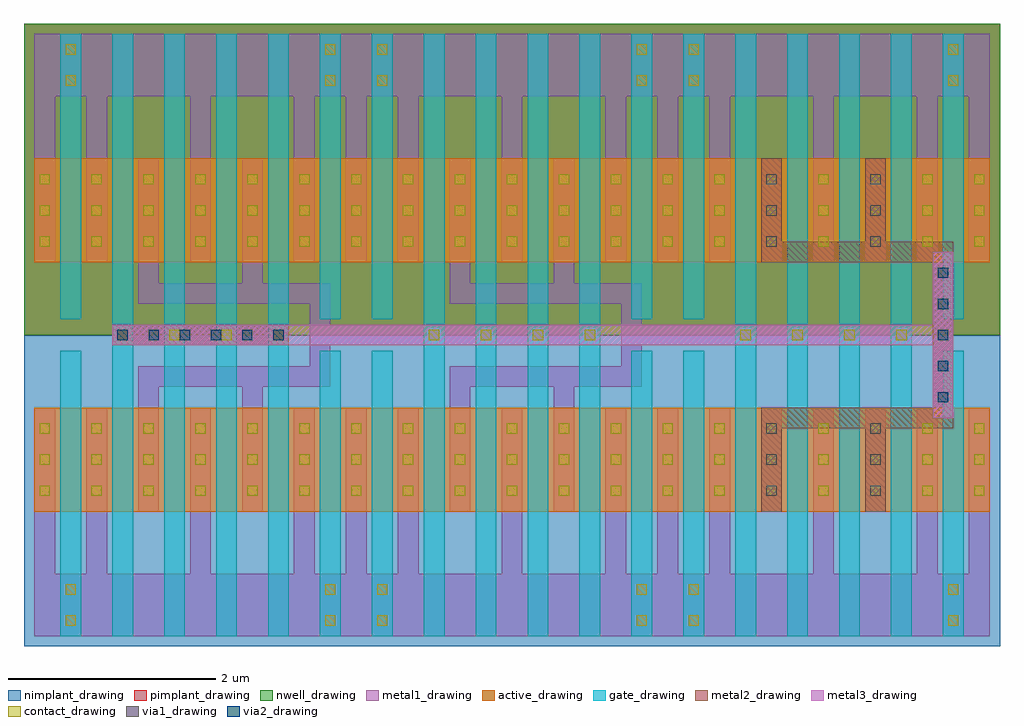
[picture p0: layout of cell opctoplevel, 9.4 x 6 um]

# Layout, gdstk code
import gdstk
lib = gdstk.Library(unit=1e-6, precision=1e-09)
def R(c, l, rs):  # rectangles x0, y0, x1, y1
    for r in rs: c.add(gdstk.rectangle(r[:2], r[2:], *l))
def A(c, l, x, y, w, h, nx, ny, dx, dy):  # array of equal rectangles
    R(c, l, [(x+i*dx, y+j*dy, x+i*dx+w, y+j*dy+h) for i in range(nx) for j in range(ny)])
active_drawing = (1, 0)
nwell_drawing = (3, 0)
pimplant_drawing = (4, 0)
nimplant_drawing = (5, 0)
gate_drawing = (6, 0)
contact_drawing = (7, 0)
metal1_drawing = (8, 0)
via1_drawing = (9, 0)
metal2_drawing = (10, 0)
via2_drawing = (11, 0)
metal3_drawing = (12, 0)

opctoplevel = lib.new_cell('opctoplevel')
A(opctoplevel, active_drawing, -0.25, 0, 0.7, 1, 18, 2, 0.5, 2.4)
A(opctoplevel, nwell_drawing, -0.35, 1.7, 0.9, 3, 18, 1, 0.5, 0)
R(opctoplevel, nwell_drawing, [(-0.35,1.7,9.05,4.7)])
A(opctoplevel, pimplant_drawing, -0.35, 1.7, 0.9, 3, 18, 1, 0.5, 0)
R(opctoplevel, pimplant_drawing, [(-0.35,1.7,9.05,4.7)])
A(opctoplevel, nimplant_drawing, -0.35, -1.3, 0.9, 3, 18, 1, 0.5, 0)
R(opctoplevel, nimplant_drawing, [(-0.35,-1.3,9.05,1.7)])
A(opctoplevel, gate_drawing, 0.5, -1.2, 0.2, 3, 4, 1, 0.5, 0)
A(opctoplevel, gate_drawing, 3.5, -1.2, 0.2, 3, 4, 1, 0.5, 0)
A(opctoplevel, gate_drawing, 6.5, -1.2, 0.2, 3, 4, 1, 0.5, 0)
A(opctoplevel, gate_drawing, 0.5, 1.7, 0.2, 2.9, 4, 1, 0.5, 0)
A(opctoplevel, gate_drawing, 3.5, 1.7, 0.2, 2.9, 4, 1, 0.5, 0)
A(opctoplevel, gate_drawing, 6.5, 1.7, 0.2, 2.9, 4, 1, 0.5, 0)
R(opctoplevel, gate_drawing, [(0,-1.2,0.2,1.55), (2.5,-1.2,2.7,1.55), (3,-1.2,3.2,1.55), (5.5,-1.2,5.7,1.55), (6,-1.2,6.2,1.55), (8.5,-1.2,8.7,1.55), (0,1.85,0.2,4.6), (2.5,1.85,2.7,4.6), (3,1.85,3.2,4.6), (5.5,1.85,5.7,4.6), (6,1.85,6.2,4.6), (8.5,1.85,8.7,4.6)])
A(opctoplevel, contact_drawing, -0.2, 0.15, 0.1, 0.1, 7, 3, 0.5, 0.3)
A(opctoplevel, contact_drawing, 2.8, 0.15, 0.1, 0.1, 7, 3, 0.5, 0.3)
A(opctoplevel, contact_drawing, 5.8, 0.15, 0.1, 0.1, 7, 3, 0.5, 0.3)
A(opctoplevel, contact_drawing, 0.55, 1.65, 0.1, 0.1, 4, 1, 0.5, 0)
A(opctoplevel, contact_drawing, 3.55, 1.65, 0.1, 0.1, 4, 1, 0.5, 0)
A(opctoplevel, contact_drawing, 6.55, 1.65, 0.1, 0.1, 4, 1, 0.5, 0)
A(opctoplevel, contact_drawing, -0.2, 2.55, 0.1, 0.1, 7, 3, 0.5, 0.3)
A(opctoplevel, contact_drawing, 2.8, 2.55, 0.1, 0.1, 7, 3, 0.5, 0.3)
A(opctoplevel, contact_drawing, 5.8, 2.55, 0.1, 0.1, 7, 3, 0.5, 0.3)
R(opctoplevel, contact_drawing, [(0.05,-1.1,0.15,-1), (2.55,-1.1,2.65,-1), (3.05,-1.1,3.15,-1), (5.55,-1.1,5.65,-1), (6.05,-1.1,6.15,-1), (8.55,-1.1,8.65,-1), (0.05,-0.8,0.15,-0.7), (2.55,-0.8,2.65,-0.7), (3.05,-0.8,3.15,-0.7), (5.55,-0.8,5.65,-0.7), (6.05,-0.8,6.15,-0.7), (8.55,-0.8,8.65,-0.7), (0.05,4.1,0.15,4.2), (2.55,4.1,2.65,4.2), (3.05,4.1,3.15,4.2), (5.55,4.1,5.65,4.2), (6.05,4.1,6.15,4.2), (8.55,4.1,8.65,4.2), (0.05,4.4,0.15,4.5), (2.55,4.4,2.65,4.5), (3.05,4.4,3.15,4.5), (5.55,4.4,5.65,4.5), (6.05,4.4,6.15,4.5), (8.55,4.4,8.65,4.5)])
A(opctoplevel, metal1_drawing, -0.25, -1.2, 3.2, 0.6, 3, 2, 3, 5.2)
A(opctoplevel, metal1_drawing, 0.25, -0.6, 0.2, 0.6, 3, 2, 1, 4)
A(opctoplevel, metal1_drawing, 3.25, -0.6, 0.2, 0.6, 3, 2, 1, 4)
A(opctoplevel, metal1_drawing, 6.25, -0.6, 0.2, 0.6, 3, 2, 1, 4)
A(opctoplevel, metal1_drawing, -0.25, 0, 0.2, 1, 7, 2, 0.5, 2.4)
A(opctoplevel, metal1_drawing, 2.75, 0, 0.2, 1, 7, 2, 0.5, 2.4)
A(opctoplevel, metal1_drawing, 5.75, 0, 0.2, 1, 7, 2, 0.5, 2.4)
A(opctoplevel, metal1_drawing, 0.5, 1.6, 0.2, 0.2, 4, 1, 0.5, 0)
A(opctoplevel, metal1_drawing, 0.5, 1.6, 1.7, 0.2, 3, 1, 3, 0)
A(opctoplevel, metal1_drawing, 3.5, 1.6, 0.2, 0.2, 4, 1, 0.5, 0)
A(opctoplevel, metal1_drawing, 6.5, 1.6, 0.2, 0.2, 4, 1, 0.5, 0)
R(opctoplevel, metal1_drawing, [(-0.25,-1.2,8.95,-0.6), (0,-1.2,0.2,-0.6), (2.5,-1.2,2.7,-0.6), (3,-1.2,3.2,-0.6), (5.5,-1.2,5.7,-0.6), (6,-1.2,6.2,-0.6), (8.5,-1.2,8.7,-0.6), (-0.25,-0.6,-0.05,0), (2.75,-0.6,2.95,0), (2.75,-0.6,2.95,0), (5.75,-0.6,5.95,0), (5.75,-0.6,5.95,0), (8.75,-0.6,8.95,0), (8.4,0.9,8.6,2.5), (0.75,1,0.95,1.4), (1.75,1,1.95,1.4), (3.75,1,3.95,1.4), (4.75,1,4.95,1.4), (0.5,1.6,2.2,1.8), (2.6,1.6,3.5,1.8), (5.6,1.6,6.5,1.8), (0.75,2,0.95,2.4), (1.75,2,1.95,2.4), (3.75,2,3.95,2.4), (4.75,2,4.95,2.4), (-0.25,3.4,-0.05,4), (2.75,3.4,2.95,4), (2.75,3.4,2.95,4), (5.75,3.4,5.95,4), (5.75,3.4,5.95,4), (8.75,3.4,8.95,4), (-0.25,4,8.95,4.6), (0,4,0.2,4.6), (2.5,4,2.7,4.6), (3,4,3.2,4.6), (5.5,4,5.7,4.6), (6,4,6.2,4.6), (8.5,4,8.7,4.6)])
A(opctoplevel, via1_drawing, 6.8, 0.15, 0.1, 0.1, 1, 3, 0, 0.3)
A(opctoplevel, via1_drawing, 7.8, 0.15, 0.1, 0.1, 1, 3, 0, 0.3)
A(opctoplevel, via1_drawing, 8.45, 1.05, 0.1, 0.1, 1, 5, 0, 0.3)
A(opctoplevel, via1_drawing, 0.55, 1.65, 0.1, 0.1, 6, 1, 0.3, 0)
A(opctoplevel, via1_drawing, 6.8, 2.55, 0.1, 0.1, 1, 3, 0, 0.3)
A(opctoplevel, via1_drawing, 7.8, 2.55, 0.1, 0.1, 1, 3, 0, 0.3)
R(opctoplevel, metal2_drawing, [(6.75,0,6.95,1), (7.75,0,7.95,1), (8.4,0.9,8.6,2.5), (0.5,1.6,2.2,1.8), (6.75,2.4,6.95,3.4), (7.75,2.4,7.95,3.4)])
A(opctoplevel, via2_drawing, 8.45, 1.05, 0.1, 0.1, 1, 5, 0, 0.3)
A(opctoplevel, via2_drawing, 0.55, 1.65, 0.1, 0.1, 6, 1, 0.3, 0)
R(opctoplevel, metal3_drawing, [(8.4,0.9,8.6,2.5), (0.5,1.6,2.2,1.8)])
opctoplevel.add(gdstk.FlexPath([(0.95,2.1),(2.5,2.1),(2.5,1.3),(0.95,1.3)], 0.2, ends="flush", simple_path=True, layer=8, datatype=0))  # metal1_drawing
opctoplevel.add(gdstk.FlexPath([(3.95,2.1),(5.5,2.1),(5.5,1.3),(3.95,1.3)], 0.2, ends="flush", simple_path=True, layer=8, datatype=0))  # metal1_drawing
opctoplevel.add(gdstk.FlexPath([(6.95,2.5),(8.5,2.5),(8.5,0.9),(6.95,0.9)], 0.2, ends="flush", simple_path=True, layer=10, datatype=0))  # metal2_drawing
opctoplevel.add(gdstk.FlexPath([(8.5,1.7),(0.5,1.7)], 0.2, ends="flush", simple_path=True, layer=12, datatype=0))  # metal3_drawing

lib.write_gds('opctoplevel.gds')
